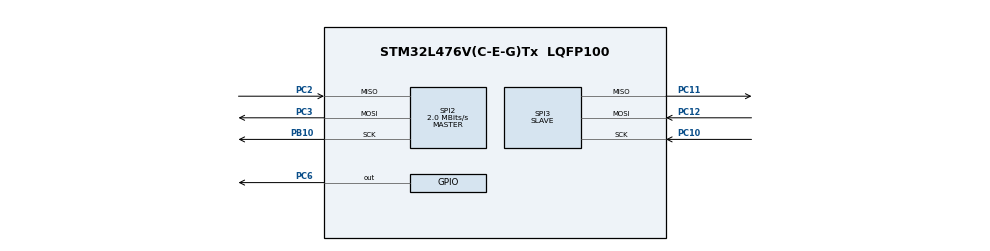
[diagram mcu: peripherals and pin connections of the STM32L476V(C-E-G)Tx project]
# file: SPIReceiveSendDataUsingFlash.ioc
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Mcu.Family=STM32L4
Mcu.Name=STM32L476V(C-E-G)Tx
Mcu.Package=LQFP100
NVIC.PriorityGroup=NVIC_PRIORITYGROUP_4
NVIC.SPI2_IRQn=true\:0\:0\:false\:false\:true\:true
NVIC.SPI3_IRQn=true\:0\:0\:false\:false\:true\:true
PB10.Mode=Full_Duplex_Master
PB10.Signal=SPI2_SCK
PC10.Mode=Full_Duplex_Slave
PC10.Signal=SPI3_SCK
PC11.Mode=Full_Duplex_Slave
PC11.Signal=SPI3_MISO
PC12.Mode=Full_Duplex_Slave
PC12.Signal=SPI3_MOSI
PC2.Mode=Full_Duplex_Master
PC2.Signal=SPI2_MISO
PC3.Mode=Full_Duplex_Master
PC3.Signal=SPI2_MOSI
PC6.GPIO_Speed=GPIO_SPEED_FREQ_VERY_HIGH
PC6.Signal=GPIO_Output
PH0-OSC_IN\ (PH0).Mode=HSE-External-Oscillator
PH0-OSC_IN\ (PH0).Signal=RCC_OSC_IN
PH1-OSC_OUT\ (PH1).Mode=HSE-External-Oscillator
PH1-OSC_OUT\ (PH1).Signal=RCC_OSC_OUT
ProjectManager.HeapSize=0x200
ProjectManager.StackSize=0x400
ProjectManager.TargetToolchain=SW4STM32
RCC.HSE_VALUE=8000000
RCC.HSI_VALUE=16000000
RCC.LSE_VALUE=32768
RCC.MSI_VALUE=4000000
RCC.VCOOutputFreq_Value=32000000
SPI2.CalculateBaudRate=2.0 MBits/s
SPI2.DataSize=SPI_DATASIZE_8BIT
SPI2.Direction=SPI_DIRECTION_2LINES
SPI2.Mode=SPI_MODE_MASTER
SPI2.VirtualType=VM_MASTER
SPI3.DataSize=SPI_DATASIZE_8BIT
SPI3.Direction=SPI_DIRECTION_2LINES
SPI3.Mode=SPI_MODE_SLAVE
SPI3.VirtualType=VM_SLAVE
board=SPIReceiveSendDataUsingFlash

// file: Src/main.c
/**
  ******************************************************************************
  * File Name          : main.c
  * Description        : Main program body
  ******************************************************************************
  ** This notice applies to any and all portions of this file
  * that are not between comment pairs USER CODE BEGIN and
  * USER CODE END. Other portions of this file, whether
  * inserted by the user or by software development tools
  * are owned by their respective copyright owners.
  *
  * COPYRIGHT(c) 2017 STMicroelectronics
  *
  * Redistribution and use in source and binary forms, with or without modification,
  * are permitted provided that the following conditions are met:
  *   1. Redistributions of source code must retain the above copyright notice,
  *      this list of conditions and the following disclaimer.
  *   2. Redistributions in binary form must reproduce the above copyright notice,
  *      this list of conditions and the following disclaimer in the documentation
  *      and/or other materials provided with the distribution.
  *   3. Neither the name of STMicroelectronics nor the names of its contributors
  *      may be used to endorse or promote products derived from this software
  *      without specific prior written permission.
  *
  * THIS SOFTWARE IS PROVIDED BY THE COPYRIGHT HOLDERS AND CONTRIBUTORS "AS IS"
  * AND ANY EXPRESS OR IMPLIED WARRANTIES, INCLUDING, BUT NOT LIMITED TO, THE
  * IMPLIED WARRANTIES OF MERCHANTABILITY AND FITNESS FOR A PARTICULAR PURPOSE ARE
  * DISCLAIMED. IN NO EVENT SHALL THE COPYRIGHT HOLDER OR CONTRIBUTORS BE LIABLE
  * FOR ANY DIRECT, INDIRECT, INCIDENTAL, SPECIAL, EXEMPLARY, OR CONSEQUENTIAL
  * DAMAGES (INCLUDING, BUT NOT LIMITED TO, PROCUREMENT OF SUBSTITUTE GOODS OR
  * SERVICES; LOSS OF USE, DATA, OR PROFITS; OR BUSINESS INTERRUPTION) HOWEVER
  * CAUSED AND ON ANY THEORY OF LIABILITY, WHETHER IN CONTRACT, STRICT LIABILITY,
  * OR TORT (INCLUDING NEGLIGENCE OR OTHERWISE) ARISING IN ANY WAY OUT OF THE USE
  * OF THIS SOFTWARE, EVEN IF ADVISED OF THE POSSIBILITY OF SUCH DAMAGE.
  *
  ******************************************************************************
  */
#include "main.h"
#include "stm32l4xx_hal.h"

/* USER CODE BEGIN Includes */
#include "spi_flash.h"

/* USER CODE END Includes */

SPI_HandleTypeDef hspi2;
SPI_HandleTypeDef hspi3;

/* USER CODE BEGIN PV */

/* Private Define */
#define Fail 0x00
#define Success 0x01
#define FLASH_WRITE_ADDRESS
#define FLASH_READ_ADDRESS
#define FLASH_ERASE_ADDRESS
#define BufferSize 256
/* Private variables ---------------------------------------------------------*/
uint8_t TBuffer[BufferSize];
uint8_t RBuffer[BufferSize];
__IO uint8_t Index = 0x0;
__IO uint32_t FlashID = 0;
/* USER CODE END PV */

void SystemClock_Config(void);
static void MX_GPIO_Init(void);
static void MX_SPI2_Init(void);
static void MX_SPI3_Init(void);

/* USER CODE BEGIN PFP */
/* Private function prototypes -----------------------------------------------*/
int Buffercmp(uint8_t* pBuffer1, uint8_t* pBuffer2, uint16_t BufferLength);
/* USER CODE END PFP */

int main(void)
{

  /* MCU Configuration----------------------------------------------------------*/

  /* Reset of all peripherals, Initializes the Flash interface and the Systick. */
  HAL_Init();

  /* Configure the system clock */
  SystemClock_Config();

  /* Initialize all configured peripherals */
  MX_GPIO_Init();
  MX_SPI2_Init();
  MX_SPI3_Init();

  /* USER CODE BEGIN 2 */
  sFLASH_CS_LOW();
  /* Get SPI Flash ID */
 	  FlashID = sFLASH_ReadID();

 	  /* Check the SPI Flash ID */
 	  if (FlashID/*the flash ID*/)
 	  {
 	    /* Perform a write in the Flash followed by a read of the written data */
 	    /* Erase SPI FLASH Sector to write on */
 	    //sFLASH_EraseSector(FLASH_SECTOR_TO_ERASE);

 	    /* Write Tx_Buffer data to SPI FLASH memory */
 	    HAL_SPI_Transmit(&hspi2, &TBuffer, BufferSize, 50);
 	    //sFLASH_WriteBuffer(Tx_Buffer, FLASH_WRITE_ADDRESS, BufferSize);

 	    /* Read data from SPI FLASH memory */
 	    //sFLASH_ReadBuffer(Rx_Buffer, FLASH_READ_ADDRESS, BufferSize);
 	    HAL_SPI_Receive(&hspi3, &RBuffer, BufferSize, 50);
 	    /* Check the correctness of written data */
 	    int TransferStatus1 = Buffercmp(TBuffer, RBuffer, BufferSize);
 	    if(TransferStatus1 == Fail){
 	    	_Error_Handler(__FILE__, __LINE__);
 	    }
 	    /* TransferStatus1 = PASSED, if the transmitted and received data by SPI1
 	       are the same */
 	    /* TransferStatus1 = FAILED, if the transmitted and received data by SPI1
 	       are different */

 	    /* Perform an erase in the Flash followed by a read of the written data */
 	    /* Erase SPI FLASH Sector to write on */
 	    //sFLASH_EraseSector(FLASH_SECTOR_TO_ERASE);

 	    /* Read data from SPI FLASH memory */
 	    //sFLASH_ReadBuffer(Rx_Buffer, FLASH_READ_ADDRESS, BufferSize);

 	    /* Check the correctness of erasing operation data */
 	    for (Index = 0; Index < BufferSize; Index++)
 	    {
 	      if (RBuffer[Index] != 0xFF)
 	      {
 	        int TransferStatus2 = Fail;
 	        _Error_Handler(__FILE__, __LINE__);
 	      }
 	    }
 	    /* TransferStatus2 = PASSED, if the specified sector part is erased */
 	    /* TransferStatus2 = FAILED, if the specified sector part is not well erased */
 	  }
 	  else{
 		  _Error_Handler(__FILE__, __LINE__);
 	  }
  /* USER CODE END 2 */
 	 sFLASH_CS_HIGH();
  /* Infinite loop */
  while (1)
  {

  }

}

/** System Clock Configuration
*/
void SystemClock_Config(void)
{

  RCC_OscInitTypeDef RCC_OscInitStruct;
  RCC_ClkInitTypeDef RCC_ClkInitStruct;

    /**Initializes the CPU, AHB and APB busses clocks
    */
  RCC_OscInitStruct.OscillatorType = RCC_OSCILLATORTYPE_MSI;
  RCC_OscInitStruct.MSIState = RCC_MSI_ON;
  RCC_OscInitStruct.MSICalibrationValue = 0;
  RCC_OscInitStruct.MSIClockRange = RCC_MSIRANGE_6;
  RCC_OscInitStruct.PLL.PLLState = RCC_PLL_NONE;
  if (HAL_RCC_OscConfig(&RCC_OscInitStruct) != HAL_OK)
  {
    _Error_Handler(__FILE__, __LINE__);
  }

    /**Initializes the CPU, AHB and APB busses clocks
    */
  RCC_ClkInitStruct.ClockType = RCC_CLOCKTYPE_HCLK|RCC_CLOCKTYPE_SYSCLK
                              |RCC_CLOCKTYPE_PCLK1|RCC_CLOCKTYPE_PCLK2;
  RCC_ClkInitStruct.SYSCLKSource = RCC_SYSCLKSOURCE_MSI;
  RCC_ClkInitStruct.AHBCLKDivider = RCC_SYSCLK_DIV1;
  RCC_ClkInitStruct.APB1CLKDivider = RCC_HCLK_DIV1;
  RCC_ClkInitStruct.APB2CLKDivider = RCC_HCLK_DIV1;

  if (HAL_RCC_ClockConfig(&RCC_ClkInitStruct, FLASH_LATENCY_0) != HAL_OK)
  {
    _Error_Handler(__FILE__, __LINE__);
  }

    /**Configure the main internal regulator output voltage
    */
  if (HAL_PWREx_ControlVoltageScaling(PWR_REGULATOR_VOLTAGE_SCALE1) != HAL_OK)
  {
    _Error_Handler(__FILE__, __LINE__);
  }

    /**Configure the Systick interrupt time
    */
  HAL_SYSTICK_Config(HAL_RCC_GetHCLKFreq()/1000);

    /**Configure the Systick
    */
  HAL_SYSTICK_CLKSourceConfig(SYSTICK_CLKSOURCE_HCLK);

  /* SysTick_IRQn interrupt configuration */
  HAL_NVIC_SetPriority(SysTick_IRQn, 0, 0);
}

/* SPI2 init function */
static void MX_SPI2_Init(void)
{

  /* SPI2 parameter configuration*/
  hspi2.Instance = SPI2;
  hspi2.Init.Mode = SPI_MODE_MASTER;
  hspi2.Init.Direction = SPI_DIRECTION_2LINES;
  hspi2.Init.DataSize = SPI_DATASIZE_8BIT;
  hspi2.Init.CLKPolarity = SPI_POLARITY_LOW;
  hspi2.Init.CLKPhase = SPI_PHASE_1EDGE;
  hspi2.Init.NSS = SPI_NSS_SOFT;
  hspi2.Init.BaudRatePrescaler = SPI_BAUDRATEPRESCALER_2;
  hspi2.Init.FirstBit = SPI_FIRSTBIT_MSB;
  hspi2.Init.TIMode = SPI_TIMODE_DISABLE;
  hspi2.Init.CRCCalculation = SPI_CRCCALCULATION_DISABLE;
  hspi2.Init.CRCPolynomial = 7;
  hspi2.Init.CRCLength = SPI_CRC_LENGTH_DATASIZE;
  hspi2.Init.NSSPMode = SPI_NSS_PULSE_ENABLE;
  if (HAL_SPI_Init(&hspi2) != HAL_OK)
  {
    _Error_Handler(__FILE__, __LINE__);
  }

}

/* SPI3 init function */
static void MX_SPI3_Init(void)
{

  /* SPI3 parameter configuration*/
  hspi3.Instance = SPI3;
  hspi3.Init.Mode = SPI_MODE_SLAVE;
  hspi3.Init.Direction = SPI_DIRECTION_2LINES;
  hspi3.Init.DataSize = SPI_DATASIZE_8BIT;
  hspi3.Init.CLKPolarity = SPI_POLARITY_LOW;
  hspi3.Init.CLKPhase = SPI_PHASE_1EDGE;
  hspi3.Init.NSS = SPI_NSS_SOFT;
  hspi3.Init.FirstBit = SPI_FIRSTBIT_MSB;
  hspi3.Init.TIMode = SPI_TIMODE_DISABLE;
  hspi3.Init.CRCCalculation = SPI_CRCCALCULATION_DISABLE;
  hspi3.Init.CRCPolynomial = 7;
  hspi3.Init.CRCLength = SPI_CRC_LENGTH_DATASIZE;
  hspi3.Init.NSSPMode = SPI_NSS_PULSE_DISABLE;
  if (HAL_SPI_Init(&hspi3) != HAL_OK)
  {
    _Error_Handler(__FILE__, __LINE__);
  }

}

/** Configure pins as
        * Analog
        * Input
        * Output
        * EVENT_OUT
        * EXTI
*/
static void MX_GPIO_Init(void)
{

  GPIO_InitTypeDef GPIO_InitStruct;

  /* GPIO Ports Clock Enable */
  __HAL_RCC_GPIOH_CLK_ENABLE();
  __HAL_RCC_GPIOC_CLK_ENABLE();
  __HAL_RCC_GPIOB_CLK_ENABLE();

  /*Configure GPIO pin Output Level */
  HAL_GPIO_WritePin(GPIOC, GPIO_PIN_6, GPIO_PIN_RESET);

  /*Configure GPIO pin : PC6 */
  GPIO_InitStruct.Pin = GPIO_PIN_6;
  GPIO_InitStruct.Mode = GPIO_MODE_OUTPUT_PP;
  GPIO_InitStruct.Pull = GPIO_NOPULL;
  GPIO_InitStruct.Speed = GPIO_SPEED_FREQ_VERY_HIGH;
  HAL_GPIO_Init(GPIOC, &GPIO_InitStruct);

}

void _Error_Handler(char * file, int line)
{
  while(1)
  {
  }
}

/************************ (C) COPYRIGHT STMicroelectronics *****END OF FILE****/
